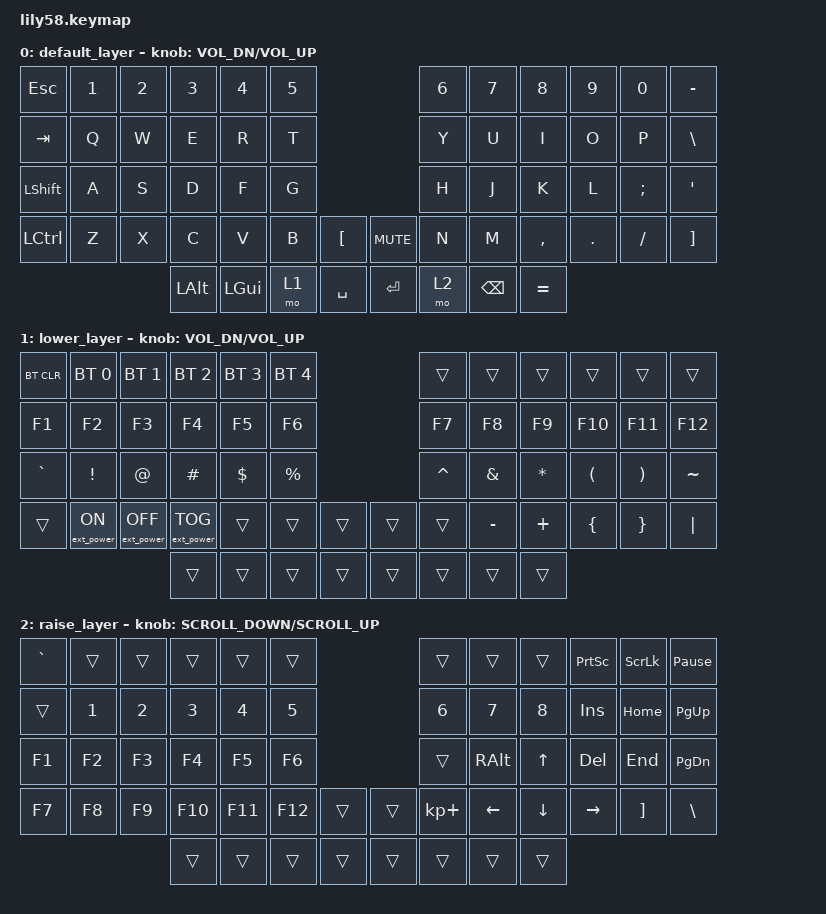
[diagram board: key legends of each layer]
/*
 * Copyright (c) 2020 The ZMK Contributors
 *
 * SPDX-License-Identifier: MIT

    # Left
        west build -s app -b nice_nano_v2 -d build/lily58_left -- `
            -DZMK_CONFIG=../zmk-config/config `
            -DSHIELD=lily58_left

    # Right
        west build -s app -b nice_nano_v2 -d build/lily58_right -- `
            -DZMK_CONFIG=../zmk-config/config `
            -DSHIELD=lily58_right



 */

#include <behaviors.dtsi>
#include <dt-bindings/zmk/keys.h>
#include <dt-bindings/zmk/bt.h>
#include <dt-bindings/zmk/ext_power.h>

/ {
    keymap {
        compatible = "zmk,keymap";

        default_layer {
// ------------------------------------------------------------------------------------------------------------
// |  ESC  |  1  |  2  |  3   |  4   |  5   |                   |  6   |  7    |  8    |  9   |   0   |   `   |
// |  TAB  |  Q  |  W  |  E   |  R   |  T   |                   |  Y   |  U    |  I    |  O   |   P   |   -   |
// |  CTRL |  A  |  S  |  D   |  F   |  G   |                   |  H   |  J    |  K    |  L   |   ;   |   '   |
// | SHIFT |  Z  |  X  |  C   |  V   |  B   |   "["  |  |  "]"  |  N   |  M    |  ,    |  .   |   /   | SHIFT |
//                     | ALT  | GUI  | LOWER|  SPACE |  | ENTER | RAISE| BSPC  | GUI   |
            bindings = <
&kp ESC   &kp N1 &kp N2 &kp N3   &kp N4   &kp N5                     &kp N6 &kp N7   &kp N8    &kp N9  &kp N0   &kp MINUS
&kp TAB   &kp Q  &kp W  &kp E    &kp R    &kp T                      &kp Y  &kp U    &kp I     &kp O   &kp P    &kp BACKSLASH
&kp LSHFT &kp A  &kp S  &kp D    &kp F    &kp G                      &kp H  &kp J    &kp K     &kp L   &kp SEMI &kp SQT
&kp LCTRL &kp Z  &kp X  &kp C    &kp V    &kp B  &kp LBKT   &kp C_MUTE &kp N  &kp M    &kp COMMA &kp DOT &kp FSLH &kp RBKT
                        &kp LALT &kp LGUI &mo 1  &kp SPACE  &kp RET  &mo 2  &kp BSPC &kp EQUAL
            >;

            sensor-bindings = <&inc_dec_kp C_VOL_DN C_VOL_UP>;
        };

        lower_layer {
// ------------------------------------------------------------------------------------------------------------
// | BTCLR | BT1 | BT2 |  BT3 |  BT4 |  BT5 |                   |      |       |       |      |       |       |
// |  F1   |  F2 |  F3 |  F4  |  F5  |  F6  |                   |  F7  |  F8   |  F9   |  F10 |  F11  |  F12  |
// |   `   |  !  |  @  |  #   |  $   |  %   |                   |  ^   |  &    |  *    |  (   |   )   |   ~   |
// |       |     |     |      |      |      |        |  |       |      |  _    |  +    |  {   |   }   |  "|"  |
//                     |      |      |      |        |  |       |      |       |       |
            bindings = <
&bt BT_CLR &bt BT_SEL 0     &bt BT_SEL 1      &bt BT_SEL 2      &bt BT_SEL 3 &bt BT_SEL 4                 &trans    &trans    &trans    &trans    &trans    &trans
&kp F1     &kp F2           &kp F3            &kp F4            &kp F5       &kp F6                       &kp F7    &kp F8    &kp F9    &kp F10   &kp F11   &kp F12
&kp GRAVE  &kp EXCL         &kp AT            &kp HASH          &kp DOLLAR   &kp PRCNT                    &kp CARET &kp AMPS  &kp ASTRK &kp LPAR  &kp RPAR  &kp TILDE
&trans     &ext_power EP_ON &ext_power EP_OFF &ext_power EP_TOG &trans       &trans    &trans   &trans    &trans    &kp MINUS &kp PLUS  &kp LBRC  &kp RBRC  &kp PIPE
                                              &trans            &trans       &trans    &trans   &trans    &trans    &trans    &trans
            >;

            sensor-bindings = <&inc_dec_kp C_VOL_DN C_VOL_UP>;
        };

        raise_layer {
// ------------------------------------------------------------------------------------------------------------
// |       |     |     |      |      |      |                   |      |       |       |      |       |       |
// |   `   |  1  |  2  |  3   |  4   |  5   |                   |  6   |   7   |   8   |  9   |   0   |       |
// |   F1  |  F2 |  F3 |  F4  |  F5  |  F6  |                   |      |   <-  |   v   |  ^   |  ->   |       |
// |   F7  |  F8 |  F9 |  F10 |  F11 |  F12 |        |  |       |  +   |   -   |   =   |  [   |   ]   |   \   |
//                     |      |      |      |        |  |       |      |       |       |
            bindings = <
&kp GRAVE    &trans &trans &trans  &trans  &trans                       &trans      &trans    &trans    &kp PRINTSCREEN   &kp SCROLLLOCK     &kp PAUSE_BREAK
&trans &kp N1 &kp N2 &kp N3  &kp N4  &kp N5                       &kp N6      &kp N7    &kp N8    &kp INSERT   &kp HOME    &kp PAGE_UP
&kp F1    &kp F2 &kp F3 &kp F4  &kp F5  &kp F6                       &trans      &kp RALT  &kp UP    &kp DELETE   &kp END &kp PAGE_DOWN
&kp F7    &kp F8 &kp F9 &kp F10 &kp F11 &kp F12   &trans   &trans    &kp KP_PLUS &kp LEFT  &kp DOWN  &kp RIGHT &kp RBKT  &kp BSLH
                        &trans  &trans  &trans    &trans   &trans    &trans      &trans    &trans
            >;

            sensor-bindings = <&inc_dec_kp K_SCROLL_DOWN K_SCROLL_UP>;
        };
    };
};
